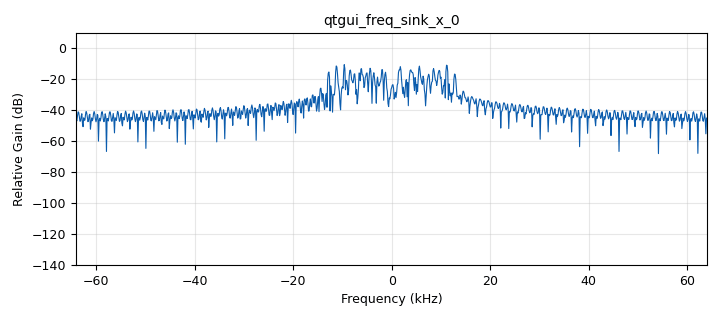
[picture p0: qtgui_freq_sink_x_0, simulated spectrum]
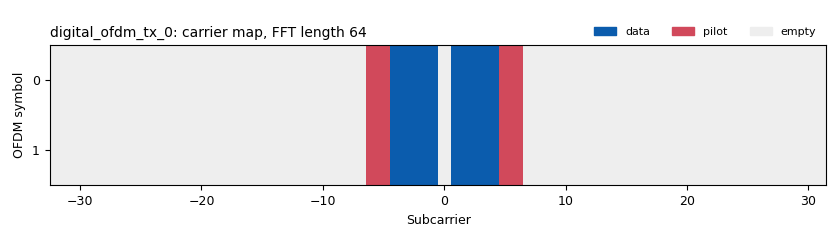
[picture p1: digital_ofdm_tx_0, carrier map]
options:
  parameters:
    category: Custom
    generate_options: qt_gui
    id: top_block
    output_language: python
  states: {}

blocks:
- name: samp_rate
  id: variable
  parameters:
    value: '128000'
  states: {}
- name: variable_1
  id: variable
  parameters:
    comment: |-
      (COMMENT)
      Enable/Disable appropriate FFT/Freq. blocks.
    value: '0'
  states: {}
- name: variable_2
  id: variable
  parameters:
    comment: |-
      (COMMENT)
      "digital_ofdm_mod" is old/depreciated block.
      Use "ODFM Transmitter" if it is available.
    value: '0'
  states: {}
- name: analog_random_source_x_0
  id: analog_random_source_x
  parameters:
    max: '4'
    min: '0'
    num_samps: '1000'
    repeat: 'True'
    type: short
  states: {}
- name: blocks_add_xx_0
  id: blocks_add_xx
  parameters:
    type: short
  states: {}
- name: blocks_delay_0
  id: blocks_delay
  parameters:
    delay: '1'
    type: short
  states: {}
- name: blocks_multiply_const_vxx_0
  id: blocks_multiply_const_vxx
  parameters:
    const: '2'
    type: short
  states: {}
- name: blocks_short_to_char_0
  id: blocks_short_to_char
  parameters: {}
  states: {}
- name: blocks_stream_to_tagged_stream_0
  id: blocks_stream_to_tagged_stream
  parameters:
    len_tag_key: length
    packet_len: '1'
    type: byte
  states: {}
- name: blocks_throttle_0
  id: blocks_throttle
  parameters:
    samples_per_second: samp_rate
    type: short
  states: {}
- name: digital_ofdm_mod_0
  id: digital_ofdm_mod
  parameters:
    cp_length: '128'
    fft_length: '1024'
    modulation: qam256
    occupied_tones: '200'
    pad_for_usrp: 'True'
    payload_length: '0'
    type: byte
  states: {state: disabled}
- name: digital_ofdm_tx_0
  id: digital_ofdm_tx
  parameters:
    cp_len: '16'
    fft_len: '64'
    header_mod: '"BPSK"'
    occupied_carriers: ((-4,-3,-2,-1,1,2,3,4),)
    packet_len_key: length
    payload_mod: '"BPSK"'
    pilot_carriers: ((-6,-5,5,6),)
    pilot_symbols: ((-1,1,-1,1),)
    rolloff: '0'
    sync_word1: None
    sync_word2: None
  states: {}
- name: qtgui_freq_sink_x_0
  id: qtgui_freq_sink_x
  parameters:
    bw: samp_rate
    fc: '0'
    fftsize: '1024'
    showports: 'True'
    type: complex
  states: {}
- name: wxgui_fftsink2_0
  id: wxgui_fftsink2
  parameters:
    average: 'False'
    avg_alpha: '0'
    baseband_freq: '0'
    fft_rate: '1'
    fft_size: '1024'
    freqvar: None
    peak_hold: 'False'
    ref_level: '0'
    ref_scale: '2.0'
    samp_rate: samp_rate
    title: FFT Plot
    type: complex
    win: None
    y_divs: '10'
    y_per_div: '10'
  states: {state: disabled}

connections:
- [analog_random_source_x_0, '0', blocks_throttle_0, '0']
- [blocks_add_xx_0, '0', blocks_delay_0, '0']
- [blocks_delay_0, '0', blocks_short_to_char_0, '0']
- [blocks_multiply_const_vxx_0, '0', blocks_add_xx_0, '1']
- [blocks_short_to_char_0, '0', blocks_stream_to_tagged_stream_0, '0']
- [blocks_stream_to_tagged_stream_0, '0', digital_ofdm_tx_0, '0']
- [blocks_throttle_0, '0', blocks_add_xx_0, '0']
- [blocks_throttle_0, '0', blocks_multiply_const_vxx_0, '0']
- [digital_ofdm_mod_0, '0', wxgui_fftsink2_0, '0']
- [digital_ofdm_tx_0, '0', qtgui_freq_sink_x_0, '0']

metadata:
  file_format: 1
